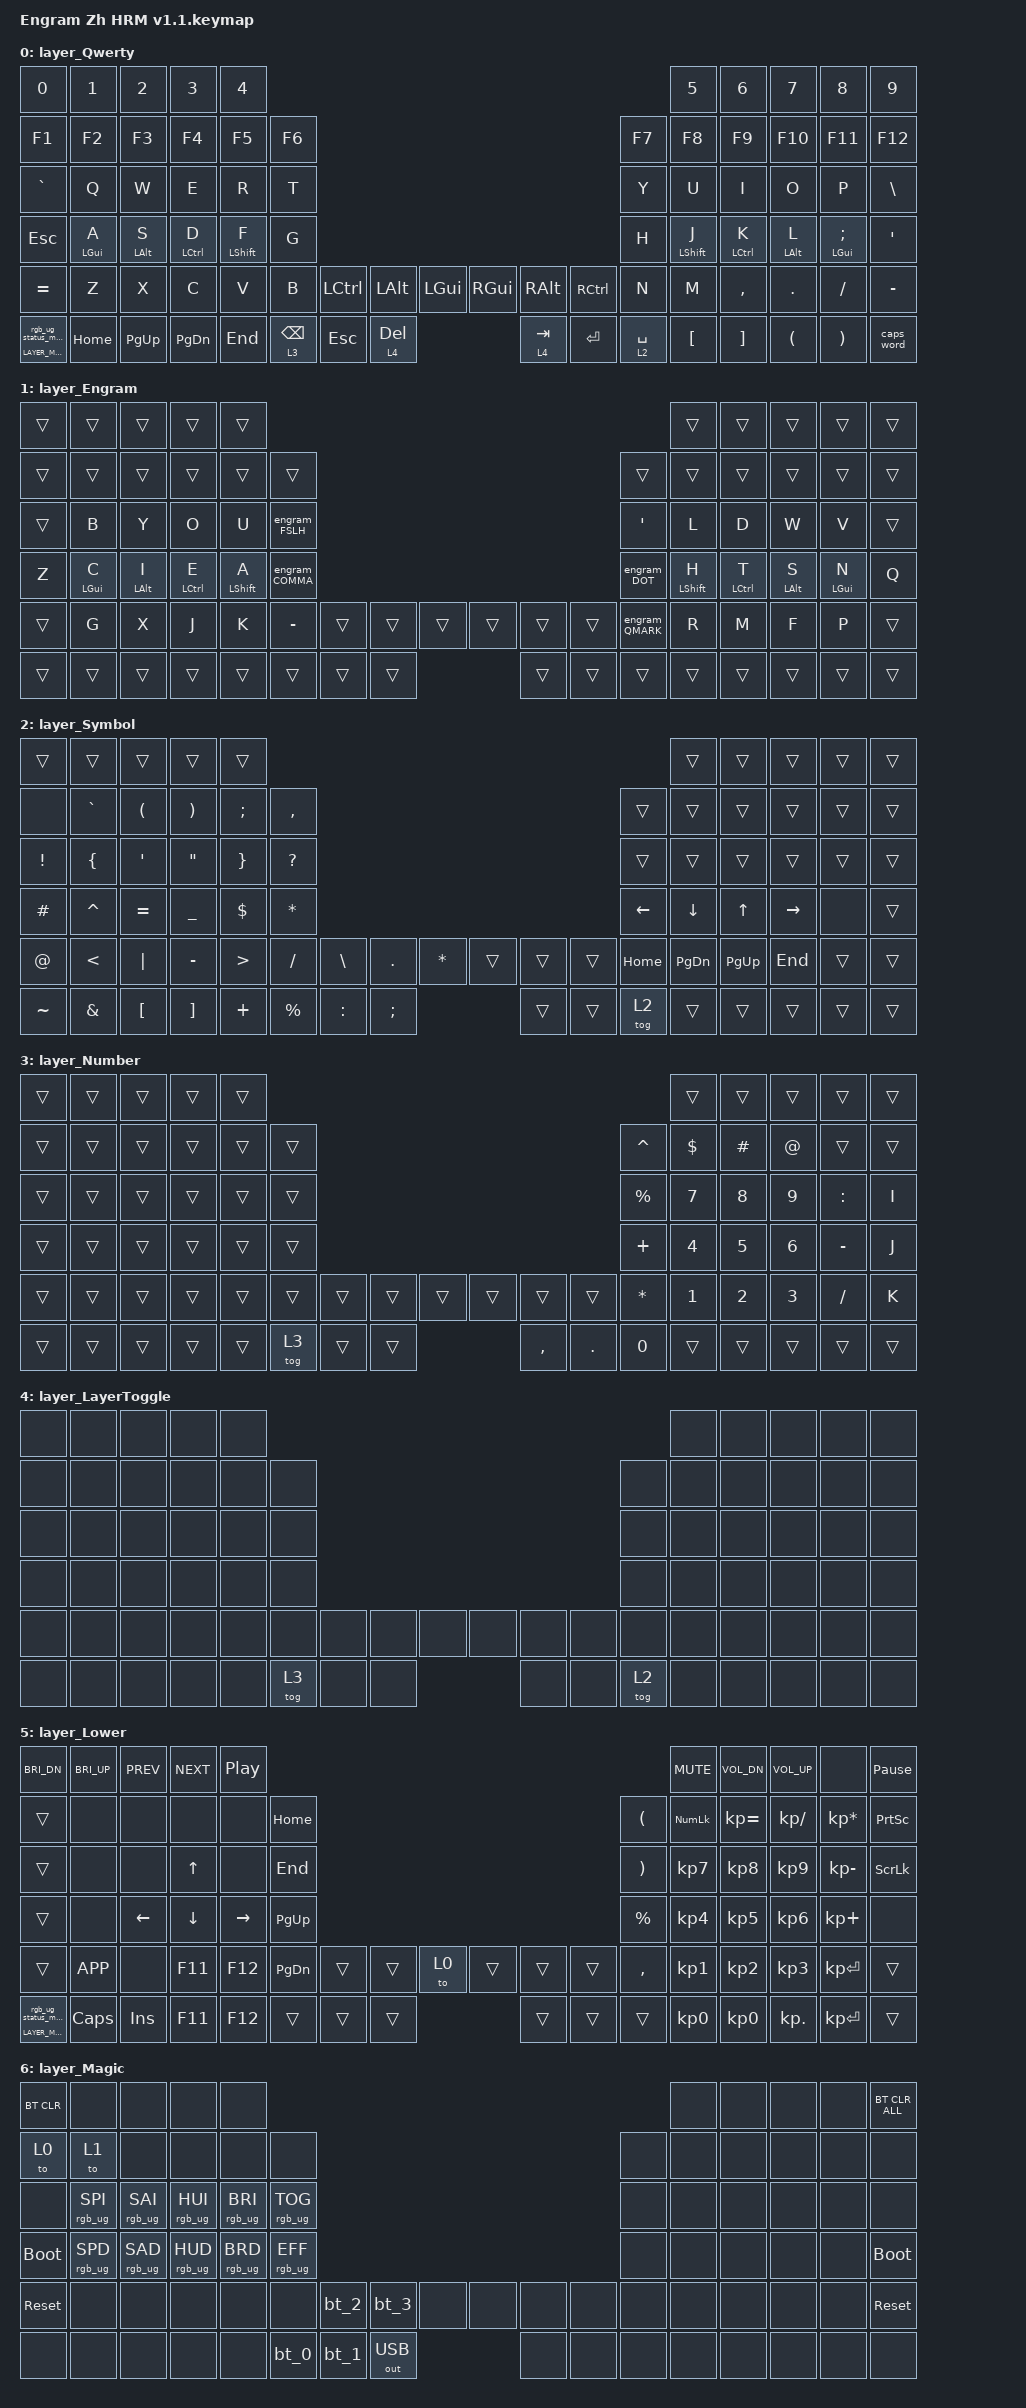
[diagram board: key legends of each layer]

/*
 * Copyright (c) 2020 The ZMK Contributors
 * Copyright (c) 2023 Innaworks Development Limited, trading as MoErgo
 *
 * SPDX-License-Identifier: MIT
 */


/* THIS FILE WAS GENERATED BY GLOVE80 LAYOUT EDITOR
 *
 * This file was generated automatically. You may or may not want to
 * edit it directly.
 */

#include <behaviors.dtsi>
/* Include all behavior includes needed */
#include <dt-bindings/zmk/outputs.h>
#include <dt-bindings/zmk/keys.h>
#include <dt-bindings/zmk/bt.h>
#include <dt-bindings/zmk/rgb.h>

/* Automatically generated layer name #define */
#define LAYER_Qwerty 0
#define LAYER_Engram 1
#define LAYER_Symbol 2
#define LAYER_Number 3
#define LAYER_LayerToggle 4
#define LAYER_Lower 5
#define LAYER_Magic 6

/* To deal with the situation where there is no Lower layer, to keep &lower happy */
#ifndef LAYER_Lower
#define LAYER_Lower 0
#endif

/* Custom Device-tree */



/* Glove80 system behavior & macros */
/ {
    behaviors {
        // For the "layer" key, it'd nice to be able to use it as either a shift or a toggle.
        // Configure it as a tap dance, so the first tap (or hold) is a &mo and the second tap is a &to
        lower: lower {
            compatible = "zmk,behavior-tap-dance";
            label = "LAYER_TAP_DANCE";
            #binding-cells = <0>;
            tapping-term-ms = <200>;
            bindings = <&mo LAYER_Lower>, <&to LAYER_Lower>;
        };
    };
};

/ {
    macros {
        rgb_ug_status_macro: rgb_ug_status_macro {
            label = "RGB_UG_STATUS";
            compatible = "zmk,behavior-macro";
            #binding-cells = <0>;
            bindings
                = <&rgb_ug RGB_STATUS>;
        };
    };
};


/ {
#ifdef BT_DISC_CMD
    behaviors {
        bt_0: bt_0 {
            compatible = "zmk,behavior-tap-dance";
            label = "BT_0";
            #binding-cells = <0>;
            tapping-term-ms = <200>;
            bindings = <&bt_select_0>, <&bt BT_DISC 0>;
        };
        bt_1: bt_1 {
            compatible = "zmk,behavior-tap-dance";
            label = "BT_1";
            #binding-cells = <0>;
            tapping-term-ms = <200>;
            bindings = <&bt_select_1>, <&bt BT_DISC 1>;
        };
        bt_2: bt_2 {
            compatible = "zmk,behavior-tap-dance";
            label = "BT_2";
            #binding-cells = <0>;
            tapping-term-ms = <200>;
            bindings = <&bt_select_2>, <&bt BT_DISC 2>;
        };
        bt_3: bt_3 {
            compatible = "zmk,behavior-tap-dance";
            label = "BT_3";
            #binding-cells = <0>;
            tapping-term-ms = <200>;
            bindings = <&bt_select_3>, <&bt BT_DISC 3>;
        };
    };
    macros {
        bt_select_0: bt_select_0 {
            label = "BT_SELECT_0";
            compatible = "zmk,behavior-macro";
            #binding-cells = <0>;
            bindings
                = <&out OUT_BLE>,
                  <&bt BT_SEL 0>;
        };
        bt_select_1: bt_select_1 {
            label = "BT_SELECT_1";
            compatible = "zmk,behavior-macro";
            #binding-cells = <0>;
            bindings
                = <&out OUT_BLE>,
                  <&bt BT_SEL 1>;
        };
        bt_select_2: bt_select_2 {
            label = "BT_SELECT_2";
            compatible = "zmk,behavior-macro";
            #binding-cells = <0>;
            bindings
                = <&out OUT_BLE>,
                  <&bt BT_SEL 2>;
        };
        bt_select_3: bt_select_3 {
            label = "BT_SELECT_3";
            compatible = "zmk,behavior-macro";
            #binding-cells = <0>;
            bindings
                = <&out OUT_BLE>,
                  <&bt BT_SEL 3>;
        };
    };
#else
    macros {
        bt_0: bt_0 {
            label = "BT_0";
            compatible = "zmk,behavior-macro";
            #binding-cells = <0>;
            bindings
                = <&out OUT_BLE>,
                  <&bt BT_SEL 0>;
        };
        bt_1: bt_1 {
            label = "BT_1";
            compatible = "zmk,behavior-macro";
            #binding-cells = <0>;
            bindings
                = <&out OUT_BLE>,
                  <&bt BT_SEL 1>;
        };
        bt_2: bt_2 {
            label = "BT_2";
            compatible = "zmk,behavior-macro";
            #binding-cells = <0>;
            bindings
                = <&out OUT_BLE>,
                  <&bt BT_SEL 2>;
        };
        bt_3: bt_3 {
            label = "BT_3";
            compatible = "zmk,behavior-macro";
            #binding-cells = <0>;
            bindings
                = <&out OUT_BLE>,
                  <&bt BT_SEL 3>;
        };
    };
#endif
};

/ {
    behaviors {
        magic: magic {
            compatible = "zmk,behavior-hold-tap";
            label = "MAGIC_HOLD_TAP";
            #binding-cells = <2>;
            flavor = "tap-preferred";
            tapping-term-ms = <200>;
            bindings = <&mo>, <&rgb_ug_status_macro>;
        };
    };
};

/* #define for key positions */
#define POS_LH_T1 52
#define POS_LH_T2 53
#define POS_LH_T3 54
#define POS_LH_T4 69
#define POS_LH_T5 70
#define POS_LH_T6 71
#define POS_LH_C1R2 15
#define POS_LH_C1R3 27
#define POS_LH_C1R4 39
#define POS_LH_C1R5 51
#define POS_LH_C2R1 4
#define POS_LH_C2R2 14
#define POS_LH_C2R3 26
#define POS_LH_C2R4 38
#define POS_LH_C2R5 50
#define POS_LH_C2R6 68
#define POS_LH_C3R1 3
#define POS_LH_C3R2 13
#define POS_LH_C3R3 25
#define POS_LH_C3R4 37
#define POS_LH_C3R5 49
#define POS_LH_C3R6 67
#define POS_LH_C4R1 2
#define POS_LH_C4R2 12
#define POS_LH_C4R3 24
#define POS_LH_C4R4 36
#define POS_LH_C4R5 48
#define POS_LH_C4R6 66
#define POS_LH_C5R1 1
#define POS_LH_C5R2 11
#define POS_LH_C5R3 23
#define POS_LH_C5R4 35
#define POS_LH_C5R5 47
#define POS_LH_C5R6 65
#define POS_LH_C6R1 0
#define POS_LH_C6R2 10
#define POS_LH_C6R3 22
#define POS_LH_C6R4 34
#define POS_LH_C6R5 46
#define POS_LH_C6R6 64
#define POS_RH_T1 57
#define POS_RH_T2 56
#define POS_RH_T3 55
#define POS_RH_T4 74
#define POS_RH_T5 73
#define POS_RH_T6 72
#define POS_RH_C1R2 16
#define POS_RH_C1R3 28
#define POS_RH_C1R4 40
#define POS_RH_C1R5 58
#define POS_RH_C2R1 5
#define POS_RH_C2R2 17
#define POS_RH_C2R3 29
#define POS_RH_C2R4 41
#define POS_RH_C2R5 59
#define POS_RH_C2R6 75
#define POS_RH_C3R1 6
#define POS_RH_C3R2 18
#define POS_RH_C3R3 30
#define POS_RH_C3R4 42
#define POS_RH_C3R5 60
#define POS_RH_C3R6 76
#define POS_RH_C4R1 7
#define POS_RH_C4R2 19
#define POS_RH_C4R3 31
#define POS_RH_C4R4 43
#define POS_RH_C4R5 61
#define POS_RH_C4R6 77
#define POS_RH_C5R1 8
#define POS_RH_C5R2 20
#define POS_RH_C5R3 32
#define POS_RH_C5R4 44
#define POS_RH_C5R5 62
#define POS_RH_C5R6 78
#define POS_RH_C6R1 9
#define POS_RH_C6R2 21
#define POS_RH_C6R3 33
#define POS_RH_C6R4 45
#define POS_RH_C6R5 63
#define POS_RH_C6R6 79

/* Custom Defined Behaviors */
/ {
// NOTE: Use the `#define` settings below to customize this keymap!
// For example, here are the main optional features you can enable:
#define DIFFICULTY_LEVEL 0 // 0:custom, 1:easy -> 5:hard (see below)
// TIP: Add more setting overrides here instead of editing them below.

//////////////////////////////////////////////////////////////////////////////
//
// Advanced Home Row Mods (HRM) Example based on
// Sunaku's Keymap v35 -- "Glorious Engrammer"
// - https://github.com/sunaku/glove80-keymaps
//
//////////////////////////////////////////////////////////////////////////////

//
// DIFFICULTY_LEVEL specifies your level of expertise with this keymap.
// It's meant to help newcomers gradually work their way up to mastery.
// You can disable this setting by omitting it or assigning a `0` zero.
//
// #define DIFFICULTY_LEVEL 0 // custom (see defaults below)
// #define DIFFICULTY_LEVEL 1 // novice (500ms)
// #define DIFFICULTY_LEVEL 2 // slower (400ms)
// #define DIFFICULTY_LEVEL 3 // normal (300ms)
// #define DIFFICULTY_LEVEL 4 // faster (200ms)
// #define DIFFICULTY_LEVEL 5 // expert (100ms)
//
#if defined(DIFFICULTY_LEVEL) && DIFFICULTY_LEVEL > 0
#define DIFFICULTY_THRESHOLD ((6-DIFFICULTY_LEVEL)*100)
#ifndef HOMEY_HOLDING_TIME
#define HOMEY_HOLDING_TIME DIFFICULTY_THRESHOLD
#endif
#ifndef INDEX_HOLDING_TIME
#define INDEX_HOLDING_TIME DIFFICULTY_THRESHOLD
#endif
#endif

behaviors {

    //////////////////////////////////////////////////////////////////////////
    //
    // Miryoku layers and home row mods (ported from my QMK endgame)
    // - https://sunaku.github.io/home-row-mods.html#porting-to-zmk
    // - https://github.com/urob/zmk-config#timeless-homerow-mods
    //
    //////////////////////////////////////////////////////////////////////////

    //
    // HOMEY_HOLDING_TYPE defines the flavor of ZMK hold-tap behavior to use
    // for the pinky, ring, and middle fingers (which are assigned to Super,
    // Alt, and Ctrl respectively in the Miryoku system) on home row keys.
    //
    #ifndef HOMEY_HOLDING_TYPE
    #define HOMEY_HOLDING_TYPE "tap-preferred"
    #endif

    //
    // HOMEY_HOLDING_TIME defines how long you need to hold (milliseconds)
    // home row mod keys in order to send their modifiers to the computer
    // (i.e. "register" them) for mod-click mouse usage (e.g. Ctrl-Click).
    //
    #ifndef HOMEY_HOLDING_TIME
    #define HOMEY_HOLDING_TIME 270 // TAPPING_TERM + ALLOW_CROSSOVER_AFTER
    #endif

    //
    // HOMEY_STREAK_DECAY defines how long you need to wait (milliseconds)
    // after typing before you can use home row mods again.  It prevents
    // unintended activation of home row mods when you're actively typing.
    //
    #ifndef HOMEY_STREAK_DECAY
    #define HOMEY_STREAK_DECAY 250
    #endif

    //
    // HOMEY_REPEAT_DECAY defines how much time you have left (milliseconds)
    // after tapping a key to hold it again in order to make it auto-repeat.
    //
    #ifndef HOMEY_REPEAT_DECAY
    #define HOMEY_REPEAT_DECAY 300 // "tap then hold" for key auto-repeat
    #endif

    //
    // INDEX_HOLDING_TYPE defines the flavor of ZMK hold-tap behavior to use
    // for index fingers (which Miryoku assigns to Shift) on home row keys.
    //
    #ifndef INDEX_HOLDING_TYPE
    #define INDEX_HOLDING_TYPE "tap-preferred"
    #endif

    //
    // INDEX_HOLDING_TIME defines how long you need to hold (milliseconds)
    // index finger keys in order to send their modifiers to the computer
    // (i.e. "register" them) for mod-click mouse usage (e.g. Shift-Click).
    //
    #ifndef INDEX_HOLDING_TIME
    #define INDEX_HOLDING_TIME 170
    #endif

    //
    // INDEX_STREAK_DECAY defines how long you need to wait (milliseconds)
    // after typing before you can use home row mods again.  It prevents
    // unintended activation of home row mods when you're actively typing.
    //
    #ifndef INDEX_STREAK_DECAY
    #define INDEX_STREAK_DECAY 150
    #endif

    //
    // INDEX_REPEAT_DECAY defines how much time you have left (milliseconds)
    // after tapping a key to hold it again in order to make it auto-repeat.
    //
    #ifndef INDEX_REPEAT_DECAY
    #define INDEX_REPEAT_DECAY 300 // "tap then hold" for key auto-repeat
    #endif

    //
    // Glove80 key positions index for positional hold-tap
    // - https://discord.com/channels/877392805654306816/937645688244826154/1066713913351221248
    // - https://media.discordapp.net/attachments/937645688244826154/1066713913133121556/image.png
    //
    // |------------------------|------------------------|
    // | LEFT_HAND_KEYS         |        RIGHT_HAND_KEYS |
    // |                        |                        |
    // |  0  1  2  3  4         |          5  6  7  8  9 |
    // | 10 11 12 13 14 15      |      16 17 18 19 20 21 |
    // | 22 23 24 25 26 27      |      28 29 30 31 32 33 |
    // | 34 35 36 37 38 39      |      40 41 42 43 44 45 |
    // | 46 47 48 49 50 51      |      58 59 60 61 62 63 |
    // | 64 65 66 67 68         |         75 76 77 78 79 |
    // |                69 52   |   57 74                |
    // |                 70 53  |  56 73                 |
    // |                  71 54 | 55 72                  |
    // |------------------------|------------------------|
    //
    #define LEFT_HAND_KEYS      \
          0  1  2  3  4         \
         10 11 12 13 14 15      \
         22 23 24 25 26 27      \
         34 35 36 37 38 39      \
         46 47 48 49 50 51      \
         64 65 66 67 68
    #define RIGHT_HAND_KEYS     \
                                           5  6  7  8  9 \
                                       16 17 18 19 20 21 \
                                       28 29 30 31 32 33 \
                                       40 41 42 43 44 45 \
                                       58 59 60 61 62 63 \
                                          75 76 77 78 79
    #define THUMB_KEYS          \
                        69 52       57 74                \
                         70 53     56 73                 \
                          71 54   55 72

    //
    // Home row mods with per-finger configuration settings
    //
    #ifndef PINKY_HOLDING_TYPE
    #define PINKY_HOLDING_TYPE HOMEY_HOLDING_TYPE
    #endif
    #ifndef PINKY_HOLDING_TIME
    #define PINKY_HOLDING_TIME HOMEY_HOLDING_TIME
    #endif
    #ifndef PINKY_STREAK_DECAY
    #define PINKY_STREAK_DECAY HOMEY_STREAK_DECAY
    #endif
    #ifndef PINKY_REPEAT_DECAY
    #define PINKY_REPEAT_DECAY HOMEY_REPEAT_DECAY
    #endif
    #ifndef RING1_HOLDING_TYPE
    #define RING1_HOLDING_TYPE HOMEY_HOLDING_TYPE
    #endif
    #ifndef RING1_HOLDING_TIME
    #define RING1_HOLDING_TIME HOMEY_HOLDING_TIME
    #endif
    #ifndef RING1_STREAK_DECAY
    #define RING1_STREAK_DECAY HOMEY_STREAK_DECAY
    #endif
    #ifndef RING1_REPEAT_DECAY
    #define RING1_REPEAT_DECAY HOMEY_REPEAT_DECAY
    #endif
    #ifndef RING2_HOLDING_TYPE
    #define RING2_HOLDING_TYPE HOMEY_HOLDING_TYPE
    #endif
    #ifndef RING2_HOLDING_TIME
    #define RING2_HOLDING_TIME HOMEY_HOLDING_TIME
    #endif
    #ifndef RING2_STREAK_DECAY
    #define RING2_STREAK_DECAY HOMEY_STREAK_DECAY
    #endif
    #ifndef RING2_REPEAT_DECAY
    #define RING2_REPEAT_DECAY HOMEY_REPEAT_DECAY
    #endif
    #ifndef MIDDY_HOLDING_TYPE
    #define MIDDY_HOLDING_TYPE HOMEY_HOLDING_TYPE
    #endif
    #ifndef MIDDY_HOLDING_TIME
    #define MIDDY_HOLDING_TIME HOMEY_HOLDING_TIME
    #endif
    #ifndef MIDDY_STREAK_DECAY
    #define MIDDY_STREAK_DECAY HOMEY_STREAK_DECAY
    #endif
    #ifndef MIDDY_REPEAT_DECAY
    #define MIDDY_REPEAT_DECAY HOMEY_REPEAT_DECAY
    #endif
    #ifndef INDEX_HOLDING_TYPE
    #define INDEX_HOLDING_TYPE HOMEY_HOLDING_TYPE
    #endif
    #ifndef INDEX_HOLDING_TIME
    #define INDEX_HOLDING_TIME HOMEY_HOLDING_TIME
    #endif
    #ifndef INDEX_STREAK_DECAY
    #define INDEX_STREAK_DECAY HOMEY_STREAK_DECAY
    #endif
    #ifndef INDEX_REPEAT_DECAY
    #define INDEX_REPEAT_DECAY HOMEY_REPEAT_DECAY
    #endif
    #ifndef LEFT_PINKY_HOLDING_TYPE
    #define LEFT_PINKY_HOLDING_TYPE PINKY_HOLDING_TYPE
    #endif
    #ifndef LEFT_PINKY_HOLDING_TIME
    #define LEFT_PINKY_HOLDING_TIME PINKY_HOLDING_TIME
    #endif
    #ifndef LEFT_PINKY_STREAK_DECAY
    #define LEFT_PINKY_STREAK_DECAY PINKY_STREAK_DECAY
    #endif
    #ifndef LEFT_PINKY_REPEAT_DECAY
    #define LEFT_PINKY_REPEAT_DECAY PINKY_REPEAT_DECAY
    #endif
    left_pinky: homey_left_pinky {
        compatible = "zmk,behavior-hold-tap";
        flavor = LEFT_PINKY_HOLDING_TYPE;
        hold-trigger-key-positions = <RIGHT_HAND_KEYS THUMB_KEYS>;
        hold-trigger-on-release; // wait for other home row mods
        tapping-term-ms = <LEFT_PINKY_HOLDING_TIME>;
        quick-tap-ms = <LEFT_PINKY_REPEAT_DECAY>;
        require-prior-idle-ms = <LEFT_PINKY_STREAK_DECAY>;
        #binding-cells = <2>;
        bindings = <&kp>, <&kp>;
    };
    #ifndef RIGHT_PINKY_HOLDING_TYPE
    #define RIGHT_PINKY_HOLDING_TYPE PINKY_HOLDING_TYPE
    #endif
    #ifndef RIGHT_PINKY_HOLDING_TIME
    #define RIGHT_PINKY_HOLDING_TIME PINKY_HOLDING_TIME
    #endif
    #ifndef RIGHT_PINKY_STREAK_DECAY
    #define RIGHT_PINKY_STREAK_DECAY PINKY_STREAK_DECAY
    #endif
    #ifndef RIGHT_PINKY_REPEAT_DECAY
    #define RIGHT_PINKY_REPEAT_DECAY PINKY_REPEAT_DECAY
    #endif
    right_pinky: homey_right_pinky {
        compatible = "zmk,behavior-hold-tap";
        flavor = RIGHT_PINKY_HOLDING_TYPE;
        hold-trigger-key-positions = <LEFT_HAND_KEYS THUMB_KEYS>;
        hold-trigger-on-release; // wait for other home row mods
        tapping-term-ms = <RIGHT_PINKY_HOLDING_TIME>;
        quick-tap-ms = <RIGHT_PINKY_REPEAT_DECAY>;
        require-prior-idle-ms = <RIGHT_PINKY_STREAK_DECAY>;
        #binding-cells = <2>;
        bindings = <&kp>, <&kp>;
    };
    #ifndef LEFT_RING1_HOLDING_TYPE
    #define LEFT_RING1_HOLDING_TYPE RING1_HOLDING_TYPE
    #endif
    #ifndef LEFT_RING1_HOLDING_TIME
    #define LEFT_RING1_HOLDING_TIME RING1_HOLDING_TIME
    #endif
    #ifndef LEFT_RING1_STREAK_DECAY
    #define LEFT_RING1_STREAK_DECAY RING1_STREAK_DECAY
    #endif
    #ifndef LEFT_RING1_REPEAT_DECAY
    #define LEFT_RING1_REPEAT_DECAY RING1_REPEAT_DECAY
    #endif
    left_ring1: homey_left_ring1 {
        compatible = "zmk,behavior-hold-tap";
        flavor = LEFT_RING1_HOLDING_TYPE;
        hold-trigger-key-positions = <RIGHT_HAND_KEYS THUMB_KEYS>;
        hold-trigger-on-release; // wait for other home row mods
        tapping-term-ms = <LEFT_RING1_HOLDING_TIME>;
        quick-tap-ms = <LEFT_RING1_REPEAT_DECAY>;
        require-prior-idle-ms = <LEFT_RING1_STREAK_DECAY>;
        #binding-cells = <2>;
        bindings = <&kp>, <&kp>;
    };
    #ifndef RIGHT_RING1_HOLDING_TYPE
    #define RIGHT_RING1_HOLDING_TYPE RING1_HOLDING_TYPE
    #endif
    #ifndef RIGHT_RING1_HOLDING_TIME
    #define RIGHT_RING1_HOLDING_TIME RING1_HOLDING_TIME
    #endif
    #ifndef RIGHT_RING1_STREAK_DECAY
    #define RIGHT_RING1_STREAK_DECAY RING1_STREAK_DECAY
    #endif
    #ifndef RIGHT_RING1_REPEAT_DECAY
    #define RIGHT_RING1_REPEAT_DECAY RING1_REPEAT_DECAY
    #endif
    right_ring1: homey_right_ring1 {
        compatible = "zmk,behavior-hold-tap";
        flavor = RIGHT_RING1_HOLDING_TYPE;
        hold-trigger-key-positions = <LEFT_HAND_KEYS THUMB_KEYS>;
        hold-trigger-on-release; // wait for other home row mods
        tapping-term-ms = <RIGHT_RING1_HOLDING_TIME>;
        quick-tap-ms = <RIGHT_RING1_REPEAT_DECAY>;
        require-prior-idle-ms = <RIGHT_RING1_STREAK_DECAY>;
        #binding-cells = <2>;
        bindings = <&kp>, <&kp>;
    };
    #ifndef LEFT_RING2_HOLDING_TYPE
    #define LEFT_RING2_HOLDING_TYPE RING2_HOLDING_TYPE
    #endif
    #ifndef LEFT_RING2_HOLDING_TIME
    #define LEFT_RING2_HOLDING_TIME RING2_HOLDING_TIME
    #endif
    #ifndef LEFT_RING2_STREAK_DECAY
    #define LEFT_RING2_STREAK_DECAY RING2_STREAK_DECAY
    #endif
    #ifndef LEFT_RING2_REPEAT_DECAY
    #define LEFT_RING2_REPEAT_DECAY RING2_REPEAT_DECAY
    #endif
    left_ring2: homey_left_ring2 {
        compatible = "zmk,behavior-hold-tap";
        flavor = LEFT_RING2_HOLDING_TYPE;
        hold-trigger-key-positions = <RIGHT_HAND_KEYS THUMB_KEYS>;
        hold-trigger-on-release; // wait for other home row mods
        tapping-term-ms = <LEFT_RING2_HOLDING_TIME>;
        quick-tap-ms = <LEFT_RING2_REPEAT_DECAY>;
        require-prior-idle-ms = <LEFT_RING2_STREAK_DECAY>;
        #binding-cells = <2>;
        bindings = <&kp>, <&kp>;
    };
    #ifndef RIGHT_RING2_HOLDING_TYPE
    #define RIGHT_RING2_HOLDING_TYPE RING2_HOLDING_TYPE
    #endif
    #ifndef RIGHT_RING2_HOLDING_TIME
    #define RIGHT_RING2_HOLDING_TIME RING2_HOLDING_TIME
    #endif
    #ifndef RIGHT_RING2_STREAK_DECAY
    #define RIGHT_RING2_STREAK_DECAY RING2_STREAK_DECAY
    #endif
    #ifndef RIGHT_RING2_REPEAT_DECAY
    #define RIGHT_RING2_REPEAT_DECAY RING2_REPEAT_DECAY
    #endif
    right_ring2: homey_right_ring2 {
        compatible = "zmk,behavior-hold-tap";
        flavor = RIGHT_RING2_HOLDING_TYPE;
        hold-trigger-key-positions = <LEFT_HAND_KEYS THUMB_KEYS>;
        hold-trigger-on-release; // wait for other home row mods
        tapping-term-ms = <RIGHT_RING2_HOLDING_TIME>;
        quick-tap-ms = <RIGHT_RING2_REPEAT_DECAY>;
        require-prior-idle-ms = <RIGHT_RING2_STREAK_DECAY>;
        #binding-cells = <2>;
        bindings = <&kp>, <&kp>;
    };
    #ifndef LEFT_MIDDY_HOLDING_TYPE
    #define LEFT_MIDDY_HOLDING_TYPE MIDDY_HOLDING_TYPE
    #endif
    #ifndef LEFT_MIDDY_HOLDING_TIME
    #define LEFT_MIDDY_HOLDING_TIME MIDDY_HOLDING_TIME
    #endif
    #ifndef LEFT_MIDDY_STREAK_DECAY
    #define LEFT_MIDDY_STREAK_DECAY MIDDY_STREAK_DECAY
    #endif
    #ifndef LEFT_MIDDY_REPEAT_DECAY
    #define LEFT_MIDDY_REPEAT_DECAY MIDDY_REPEAT_DECAY
    #endif
    left_middy: homey_left_middy {
        compatible = "zmk,behavior-hold-tap";
        flavor = LEFT_MIDDY_HOLDING_TYPE;
        hold-trigger-key-positions = <RIGHT_HAND_KEYS THUMB_KEYS>;
        hold-trigger-on-release; // wait for other home row mods
        tapping-term-ms = <LEFT_MIDDY_HOLDING_TIME>;
        quick-tap-ms = <LEFT_MIDDY_REPEAT_DECAY>;
        require-prior-idle-ms = <LEFT_MIDDY_STREAK_DECAY>;
        #binding-cells = <2>;
        bindings = <&kp>, <&kp>;
    };
    #ifndef RIGHT_MIDDY_HOLDING_TYPE
    #define RIGHT_MIDDY_HOLDING_TYPE MIDDY_HOLDING_TYPE
    #endif
    #ifndef RIGHT_MIDDY_HOLDING_TIME
    #define RIGHT_MIDDY_HOLDING_TIME MIDDY_HOLDING_TIME
    #endif
    #ifndef RIGHT_MIDDY_STREAK_DECAY
    #define RIGHT_MIDDY_STREAK_DECAY MIDDY_STREAK_DECAY
    #endif
    #ifndef RIGHT_MIDDY_REPEAT_DECAY
    #define RIGHT_MIDDY_REPEAT_DECAY MIDDY_REPEAT_DECAY
    #endif
    right_middy: homey_right_middy {
        compatible = "zmk,behavior-hold-tap";
        flavor = RIGHT_MIDDY_HOLDING_TYPE;
        hold-trigger-key-positions = <LEFT_HAND_KEYS THUMB_KEYS>;
        hold-trigger-on-release; // wait for other home row mods
        tapping-term-ms = <RIGHT_MIDDY_HOLDING_TIME>;
        quick-tap-ms = <RIGHT_MIDDY_REPEAT_DECAY>;
        require-prior-idle-ms = <RIGHT_MIDDY_STREAK_DECAY>;
        #binding-cells = <2>;
        bindings = <&kp>, <&kp>;
    };
    #ifndef LEFT_INDEX_HOLDING_TYPE
    #define LEFT_INDEX_HOLDING_TYPE INDEX_HOLDING_TYPE
    #endif
    #ifndef LEFT_INDEX_HOLDING_TIME
    #define LEFT_INDEX_HOLDING_TIME INDEX_HOLDING_TIME
    #endif
    #ifndef LEFT_INDEX_STREAK_DECAY
    #define LEFT_INDEX_STREAK_DECAY INDEX_STREAK_DECAY
    #endif
    #ifndef LEFT_INDEX_REPEAT_DECAY
    #define LEFT_INDEX_REPEAT_DECAY INDEX_REPEAT_DECAY
    #endif
    left_index: homey_left_index {
        compatible = "zmk,behavior-hold-tap";
        flavor = LEFT_INDEX_HOLDING_TYPE;
        hold-trigger-key-positions = <RIGHT_HAND_KEYS THUMB_KEYS>;
        hold-trigger-on-release; // wait for other home row mods
        tapping-term-ms = <LEFT_INDEX_HOLDING_TIME>;
        quick-tap-ms = <LEFT_INDEX_REPEAT_DECAY>;
        require-prior-idle-ms = <LEFT_INDEX_STREAK_DECAY>;
        #binding-cells = <2>;
        bindings = <&kp>, <&kp>;
    };
    #ifndef RIGHT_INDEX_HOLDING_TYPE
    #define RIGHT_INDEX_HOLDING_TYPE INDEX_HOLDING_TYPE
    #endif
    #ifndef RIGHT_INDEX_HOLDING_TIME
    #define RIGHT_INDEX_HOLDING_TIME INDEX_HOLDING_TIME
    #endif
    #ifndef RIGHT_INDEX_STREAK_DECAY
    #define RIGHT_INDEX_STREAK_DECAY INDEX_STREAK_DECAY
    #endif
    #ifndef RIGHT_INDEX_REPEAT_DECAY
    #define RIGHT_INDEX_REPEAT_DECAY INDEX_REPEAT_DECAY
    #endif
    right_index: homey_right_index {
        compatible = "zmk,behavior-hold-tap";
        flavor = RIGHT_INDEX_HOLDING_TYPE;
        hold-trigger-key-positions = <LEFT_HAND_KEYS THUMB_KEYS>;
        hold-trigger-on-release; // wait for other home row mods
        tapping-term-ms = <RIGHT_INDEX_HOLDING_TIME>;
        quick-tap-ms = <RIGHT_INDEX_REPEAT_DECAY>;
        require-prior-idle-ms = <RIGHT_INDEX_STREAK_DECAY>;
        #binding-cells = <2>;
        bindings = <&kp>, <&kp>;
    };
    engram_DOT: engram_shift_DOT_COLON {
        compatible = "zmk,behavior-mod-morph";
        #binding-cells = <0>;
        bindings = <&kp DOT>, <&kp COLON>;
        mods = <(MOD_LSFT|MOD_RSFT)>;
    };
    engram_COMMA: engram_shift_COMMA_SEMI {
        compatible = "zmk,behavior-mod-morph";
        #binding-cells = <0>;
        bindings = <&kp COMMA>, <&kp SEMI>;
        mods = <(MOD_LSFT|MOD_RSFT)>;
    };
    engram_QMARK: engram_shift_QMARK_EXCL {
        compatible = "zmk,behavior-mod-morph";
        #binding-cells = <0>;
        bindings = <&kp QMARK>, <&kp EXCL>;
        mods = <(MOD_LSFT|MOD_RSFT)>;
    };
    engram_FSLH: engram_shift_FSLH_BSLH {
        compatible = "zmk,behavior-mod-morph";
        #binding-cells = <0>;
        bindings = <&kp FSLH>, <&kp BSLH>;
        mods = <(MOD_LSFT|MOD_RSFT)>;
    };
};
};

/* Automatically generated macro definitions */
/ {
    macros {
    
    };
};

/* Automatically generated keymap */
/ {
    keymap {
        compatible = "zmk,keymap";


        layer_Qwerty {
            bindings = <
               &kp N0              &kp N1              &kp N2               &kp N3               &kp N4                                                                                                   &kp N5                &kp N6               &kp N7                  &kp N8      &kp N9
               &kp F1              &kp F2              &kp F3               &kp F4               &kp F5  &kp F6                                                                     &kp F7                &kp F8                &kp F9              &kp F10                 &kp F11     &kp F12
            &kp GRAVE               &kp Q               &kp W                &kp E                &kp R   &kp T                                                                      &kp Y                 &kp U                 &kp I                &kp O                   &kp P    &kp BSLH
              &kp ESC  &left_pinky LGUI A  &left_ring1 LALT S  &left_middy LCTRL D  &left_index LSHFT F   &kp G                                                                      &kp H  &right_index LSHFT J  &right_middy LCTRL K  &right_ring1 LALT L  &right_pinky LGUI SEMI     &kp SQT
            &kp EQUAL               &kp Z               &kp X                &kp C                &kp V   &kp B   &kp LCTRL  &kp LALT   &kp LGUI   &kp RGUI  &kp RALT    &kp RCTRL   &kp N                 &kp M             &kp COMMA              &kp DOT                &kp FSLH   &kp MINUS
 &magic LAYER_Magic 0            &kp HOME           &kp PG_UP            &kp PG_DN              &kp END          &lt 3 BSPC   &kp ESC  &lt 4 DEL  &lt 4 TAB   &kp RET  &lt 2 SPACE                      &kp LBKT              &kp RBKT             &kp LPAR                &kp RPAR  &caps_word
            >;
        };

        layer_Engram {
            bindings = <
 &trans              &trans              &trans               &trans               &trans                                                                                              &trans                &trans               &trans               &trans  &trans
 &trans              &trans              &trans               &trans               &trans         &trans                                                         &trans                &trans                &trans               &trans               &trans  &trans
 &trans               &kp B               &kp Y                &kp O                &kp U   &engram_FSLH                                                        &kp SQT                 &kp L                 &kp D                &kp W                &kp V  &trans
  &kp Z  &left_pinky LGUI C  &left_ring1 LALT I  &left_middy LCTRL E  &left_index LSHFT A  &engram_COMMA                                                    &engram_DOT  &right_index LSHFT H  &right_middy LCTRL T  &right_ring1 LALT S  &right_pinky LGUI N   &kp Q
 &trans               &kp G               &kp X                &kp J                &kp K      &kp MINUS  &trans  &trans  &trans  &trans  &trans  &trans  &engram_QMARK                 &kp R                 &kp M                &kp F                &kp P  &trans
 &trans              &trans              &trans               &trans               &trans                 &trans  &trans  &trans  &trans  &trans  &trans                               &trans                &trans               &trans               &trans  &trans
            >;
        };

        layer_Symbol {
            bindings = <
    &trans     &trans     &trans     &trans    &trans                                                                                  &trans     &trans     &trans  &trans  &trans
     &none  &kp GRAVE   &kp LPAR   &kp RPAR  &kp SEMI  &kp COMMA                                                            &trans     &trans     &trans     &trans  &trans  &trans
  &kp EXCL   &kp LBRC    &kp SQT    &kp DQT  &kp RBRC  &kp QMARK                                                            &trans     &trans     &trans     &trans  &trans  &trans
  &kp HASH  &kp CARET  &kp EQUAL  &kp UNDER  &kp DLLR   &kp STAR                                                          &kp LEFT   &kp DOWN     &kp UP  &kp RIGHT   &none  &trans
    &kp AT     &kp LT   &kp PIPE  &kp MINUS    &kp GT   &kp FSLH   &kp BSLH    &kp DOT  &kp STAR  &trans  &trans  &trans  &kp HOME  &kp PG_DN  &kp PG_UP    &kp END  &trans  &trans
 &kp TILDE   &kp AMPS   &kp LBKT   &kp RBKT  &kp PLUS             &kp PRCNT  &kp COLON  &kp SEMI  &trans  &trans  &tog 2               &trans     &trans     &trans  &trans  &trans
            >;
        };

        layer_Number {
            bindings = <
 &trans  &trans  &trans  &trans  &trans                                                                           &trans    &trans  &trans     &trans  &trans
 &trans  &trans  &trans  &trans  &trans  &trans                                                      &kp CARET  &kp DLLR  &kp HASH  &kp AT     &trans  &trans
 &trans  &trans  &trans  &trans  &trans  &trans                                                      &kp PRCNT    &kp N7    &kp N8  &kp N9  &kp COLON   &kp I
 &trans  &trans  &trans  &trans  &trans  &trans                                                       &kp PLUS    &kp N4    &kp N5  &kp N6  &kp MINUS   &kp J
 &trans  &trans  &trans  &trans  &trans  &trans  &trans  &trans  &trans     &trans   &trans  &trans   &kp STAR    &kp N1    &kp N2  &kp N3   &kp FSLH   &kp K
 &trans  &trans  &trans  &trans  &trans          &tog 3  &trans  &trans  &kp COMMA  &kp DOT  &kp N0               &trans    &trans  &trans     &trans  &trans
            >;
        };

        layer_LayerToggle {
            bindings = <
  &none   &none   &none   &none   &none                                                                   &none   &none   &none   &none   &none
  &none   &none   &none   &none   &none   &none                                                   &none   &none   &none   &none   &none   &none
  &none   &none   &none   &none   &none   &none                                                   &none   &none   &none   &none   &none   &none
  &none   &none   &none   &none   &none   &none                                                   &none   &none   &none   &none   &none   &none
  &none   &none   &none   &none   &none   &none   &none   &none   &none   &none   &none   &none   &none   &none   &none   &none   &none   &none
  &none   &none   &none   &none   &none          &tog 3   &none   &none   &none   &none  &tog 2           &none   &none   &none   &none   &none
            >;
        };

        layer_Lower {
            bindings = <
         &kp C_BRI_DN  &kp C_BRI_UP      &kp C_PREV      &kp C_NEXT         &kp C_PP                                                                                    &kp C_MUTE  &kp C_VOL_DN  &kp C_VOL_UP            &none  &kp PAUSE_BREAK
               &trans         &none           &none           &none            &none   &kp HOME                                                   &kp LEFT_PARENTHESIS  &kp KP_NUM  &kp KP_EQUAL  &kp KP_SLASH  &kp KP_MULTIPLY  &kp PRINTSCREEN
               &trans         &none           &none    &kp UP_ARROW            &none    &kp END                                                  &kp RIGHT_PARENTHESIS   &kp KP_N7     &kp KP_N8     &kp KP_N9     &kp KP_MINUS   &kp SCROLLLOCK
               &trans         &none  &kp LEFT_ARROW  &kp DOWN_ARROW  &kp RIGHT_ARROW  &kp PG_UP                                                            &kp PERCENT   &kp KP_N4     &kp KP_N5     &kp KP_N6      &kp KP_PLUS            &none
               &trans     &kp K_APP           &none         &kp F11          &kp F12  &kp PG_DN  &trans  &trans   &to 0  &trans  &trans  &trans              &kp COMMA   &kp KP_N1     &kp KP_N2     &kp KP_N3     &kp KP_ENTER           &trans
 &magic LAYER_Magic 0      &kp CAPS         &kp INS         &kp F11          &kp F12             &trans  &trans  &trans  &trans  &trans  &trans                          &kp KP_N0     &kp KP_N0    &kp KP_DOT     &kp KP_ENTER           &trans
            >;
        };

        layer_Magic {
            bindings = <
  &bt BT_CLR            &none            &none            &none            &none                                                                                  &none   &none   &none   &none  &bt BT_CLR_ALL
       &to 0            &to 1            &none            &none            &none            &none                                                         &none   &none   &none   &none   &none           &none
       &none  &rgb_ug RGB_SPI  &rgb_ug RGB_SAI  &rgb_ug RGB_HUI  &rgb_ug RGB_BRI  &rgb_ug RGB_TOG                                                         &none   &none   &none   &none   &none           &none
 &bootloader  &rgb_ug RGB_SPD  &rgb_ug RGB_SAD  &rgb_ug RGB_HUD  &rgb_ug RGB_BRD  &rgb_ug RGB_EFF                                                         &none   &none   &none   &none   &none     &bootloader
  &sys_reset            &none            &none            &none            &none            &none   &bt_2   &bt_3         &none   &none   &none   &none   &none   &none   &none   &none   &none      &sys_reset
       &none            &none            &none            &none            &none                    &bt_0   &bt_1  &out OUT_USB   &none   &none   &none           &none   &none   &none   &none           &none
            >;
        };

    };
};
